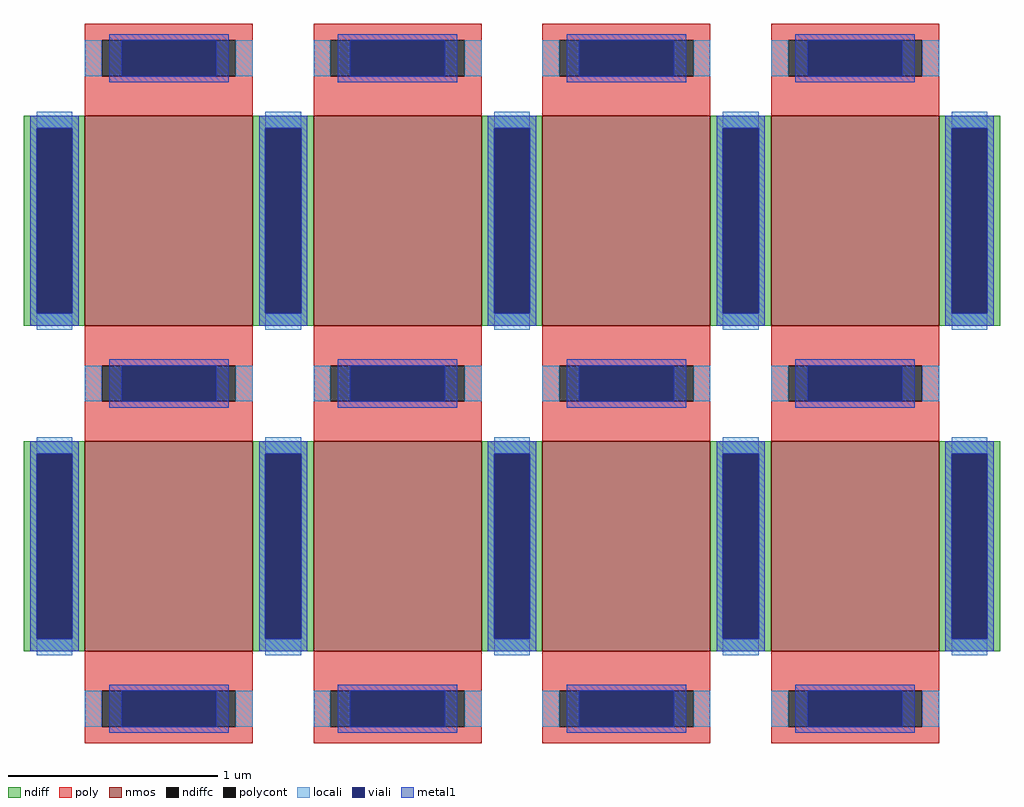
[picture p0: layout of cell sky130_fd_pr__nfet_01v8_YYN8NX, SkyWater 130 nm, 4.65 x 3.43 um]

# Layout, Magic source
magic
tech sky130A
magscale 1 2
<< nmos >>
rect -407 55 -247 255
rect -189 55 -29 255
rect 29 55 189 255
rect 247 55 407 255
rect -407 -255 -247 -55
rect -189 -255 -29 -55
rect 29 -255 189 -55
rect 247 -255 407 -55
<< ndiff >>
rect -465 243 -407 255
rect -465 67 -453 243
rect -419 67 -407 243
rect -465 55 -407 67
rect -247 243 -189 255
rect -247 67 -235 243
rect -201 67 -189 243
rect -247 55 -189 67
rect -29 243 29 255
rect -29 67 -17 243
rect 17 67 29 243
rect -29 55 29 67
rect 189 243 247 255
rect 189 67 201 243
rect 235 67 247 243
rect 189 55 247 67
rect 407 243 465 255
rect 407 67 419 243
rect 453 67 465 243
rect 407 55 465 67
rect -465 -67 -407 -55
rect -465 -243 -453 -67
rect -419 -243 -407 -67
rect -465 -255 -407 -243
rect -247 -67 -189 -55
rect -247 -243 -235 -67
rect -201 -243 -189 -67
rect -247 -255 -189 -243
rect -29 -67 29 -55
rect -29 -243 -17 -67
rect 17 -243 29 -67
rect -29 -255 29 -243
rect 189 -67 247 -55
rect 189 -243 201 -67
rect 235 -243 247 -67
rect 189 -255 247 -243
rect 407 -67 465 -55
rect 407 -243 419 -67
rect 453 -243 465 -67
rect 407 -255 465 -243
<< ndiffc >>
rect -453 67 -419 243
rect -235 67 -201 243
rect -17 67 17 243
rect 201 67 235 243
rect 419 67 453 243
rect -453 -243 -419 -67
rect -235 -243 -201 -67
rect -17 -243 17 -67
rect 201 -243 235 -67
rect 419 -243 453 -67
<< poly >>
rect -407 327 -247 343
rect -407 293 -391 327
rect -263 293 -247 327
rect -407 255 -247 293
rect -189 327 -29 343
rect -189 293 -173 327
rect -45 293 -29 327
rect -189 255 -29 293
rect 29 327 189 343
rect 29 293 45 327
rect 173 293 189 327
rect 29 255 189 293
rect 247 327 407 343
rect 247 293 263 327
rect 391 293 407 327
rect 247 255 407 293
rect -407 17 -247 55
rect -407 -17 -391 17
rect -263 -17 -247 17
rect -407 -55 -247 -17
rect -189 17 -29 55
rect -189 -17 -173 17
rect -45 -17 -29 17
rect -189 -55 -29 -17
rect 29 17 189 55
rect 29 -17 45 17
rect 173 -17 189 17
rect 29 -55 189 -17
rect 247 17 407 55
rect 247 -17 263 17
rect 391 -17 407 17
rect 247 -55 407 -17
rect -407 -293 -247 -255
rect -407 -327 -391 -293
rect -263 -327 -247 -293
rect -407 -343 -247 -327
rect -189 -293 -29 -255
rect -189 -327 -173 -293
rect -45 -327 -29 -293
rect -189 -343 -29 -327
rect 29 -293 189 -255
rect 29 -327 45 -293
rect 173 -327 189 -293
rect 29 -343 189 -327
rect 247 -293 407 -255
rect 247 -327 263 -293
rect 391 -327 407 -293
rect 247 -343 407 -327
<< polycont >>
rect -391 293 -263 327
rect -173 293 -45 327
rect 45 293 173 327
rect 263 293 391 327
rect -391 -17 -263 17
rect -173 -17 -45 17
rect 45 -17 173 17
rect 263 -17 391 17
rect -391 -327 -263 -293
rect -173 -327 -45 -293
rect 45 -327 173 -293
rect 263 -327 391 -293
<< locali >>
rect -407 293 -391 327
rect -263 293 -247 327
rect -189 293 -173 327
rect -45 293 -29 327
rect 29 293 45 327
rect 173 293 189 327
rect 247 293 263 327
rect 391 293 407 327
rect -453 243 -419 259
rect -453 51 -419 67
rect -235 243 -201 259
rect -235 51 -201 67
rect -17 243 17 259
rect -17 51 17 67
rect 201 243 235 259
rect 201 51 235 67
rect 419 243 453 259
rect 419 51 453 67
rect -407 -17 -391 17
rect -263 -17 -247 17
rect -189 -17 -173 17
rect -45 -17 -29 17
rect 29 -17 45 17
rect 173 -17 189 17
rect 247 -17 263 17
rect 391 -17 407 17
rect -453 -67 -419 -51
rect -453 -259 -419 -243
rect -235 -67 -201 -51
rect -235 -259 -201 -243
rect -17 -67 17 -51
rect -17 -259 17 -243
rect 201 -67 235 -51
rect 201 -259 235 -243
rect 419 -67 453 -51
rect 419 -259 453 -243
rect -407 -327 -391 -293
rect -263 -327 -247 -293
rect -189 -327 -173 -293
rect -45 -327 -29 -293
rect 29 -327 45 -293
rect 173 -327 189 -293
rect 247 -327 263 -293
rect 391 -327 407 -293
<< viali >>
rect -372 293 -282 327
rect -154 293 -64 327
rect 64 293 154 327
rect 282 293 372 327
rect -453 67 -419 243
rect -235 67 -201 243
rect -17 67 17 243
rect 201 67 235 243
rect 419 67 453 243
rect -372 -17 -282 17
rect -154 -17 -64 17
rect 64 -17 154 17
rect 282 -17 372 17
rect -453 -243 -419 -67
rect -235 -243 -201 -67
rect -17 -243 17 -67
rect 201 -243 235 -67
rect 419 -243 453 -67
rect -372 -327 -282 -293
rect -154 -327 -64 -293
rect 64 -327 154 -293
rect 282 -327 372 -293
<< metal1 >>
rect -384 327 -270 333
rect -384 293 -372 327
rect -282 293 -270 327
rect -384 287 -270 293
rect -166 327 -52 333
rect -166 293 -154 327
rect -64 293 -52 327
rect -166 287 -52 293
rect 52 327 166 333
rect 52 293 64 327
rect 154 293 166 327
rect 52 287 166 293
rect 270 327 384 333
rect 270 293 282 327
rect 372 293 384 327
rect 270 287 384 293
rect -459 243 -413 255
rect -459 67 -453 243
rect -419 67 -413 243
rect -459 55 -413 67
rect -241 243 -195 255
rect -241 67 -235 243
rect -201 67 -195 243
rect -241 55 -195 67
rect -23 243 23 255
rect -23 67 -17 243
rect 17 67 23 243
rect -23 55 23 67
rect 195 243 241 255
rect 195 67 201 243
rect 235 67 241 243
rect 195 55 241 67
rect 413 243 459 255
rect 413 67 419 243
rect 453 67 459 243
rect 413 55 459 67
rect -384 17 -270 23
rect -384 -17 -372 17
rect -282 -17 -270 17
rect -384 -23 -270 -17
rect -166 17 -52 23
rect -166 -17 -154 17
rect -64 -17 -52 17
rect -166 -23 -52 -17
rect 52 17 166 23
rect 52 -17 64 17
rect 154 -17 166 17
rect 52 -23 166 -17
rect 270 17 384 23
rect 270 -17 282 17
rect 372 -17 384 17
rect 270 -23 384 -17
rect -459 -67 -413 -55
rect -459 -243 -453 -67
rect -419 -243 -413 -67
rect -459 -255 -413 -243
rect -241 -67 -195 -55
rect -241 -243 -235 -67
rect -201 -243 -195 -67
rect -241 -255 -195 -243
rect -23 -67 23 -55
rect -23 -243 -17 -67
rect 17 -243 23 -67
rect -23 -255 23 -243
rect 195 -67 241 -55
rect 195 -243 201 -67
rect 235 -243 241 -67
rect 195 -255 241 -243
rect 413 -67 459 -55
rect 413 -243 419 -67
rect 453 -243 459 -67
rect 413 -255 459 -243
rect -384 -293 -270 -287
rect -384 -327 -372 -293
rect -282 -327 -270 -293
rect -384 -333 -270 -327
rect -166 -293 -52 -287
rect -166 -327 -154 -293
rect -64 -327 -52 -293
rect -166 -333 -52 -327
rect 52 -293 166 -287
rect 52 -327 64 -293
rect 154 -327 166 -293
rect 52 -333 166 -327
rect 270 -293 384 -287
rect 270 -327 282 -293
rect 372 -327 384 -293
rect 270 -333 384 -327
<< properties >>
string gencell sky130_fd_pr__nfet_01v8
string library sky130
string parameters w 1 l 0.8 m 2 nf 4 diffcov 100 polycov 100 guard 0 glc 1 grc 1 gtc 1 gbc 1 tbcov 100 rlcov 100 topc 1 botc 1 poverlap 1 doverlap 1 lmin 0.15 wmin 0.42 compatible {sky130_fd_pr__nfet_01v8 sky130_fd_pr__nfet_01v8_lvt  sky130_fd_bs_flash__special_sonosfet_star  sky130_fd_pr__nfet_g5v0d10v5 sky130_fd_pr__nfet_05v0_nvt  sky130_fd_pr__nfet_03v3_nvt} full_metal 0 viasrc 100 viadrn 100 viagate 70 viagb 0 viagr 0 viagl 0 viagt 0
<< end >>
